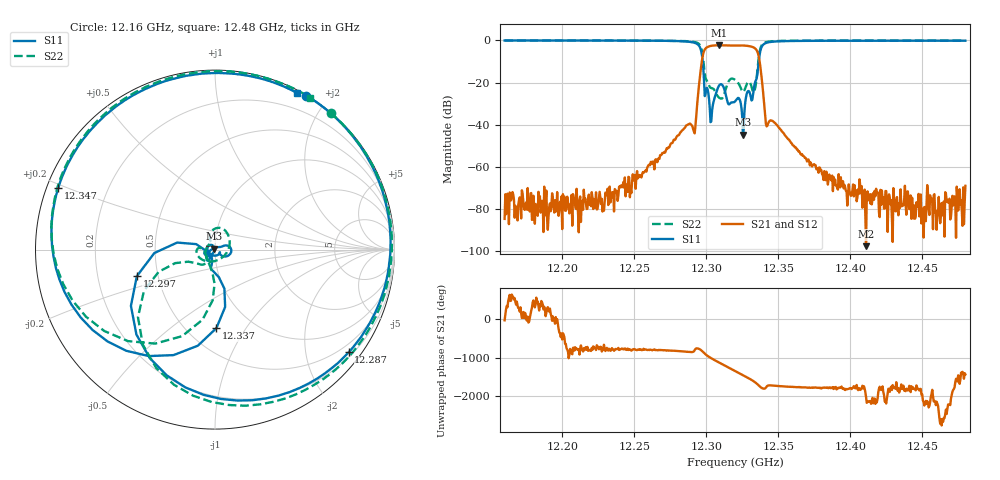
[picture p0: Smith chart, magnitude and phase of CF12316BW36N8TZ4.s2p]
! AWR Design Environment (12506) Thu Aug  4 13:45:01 2022
! Document = 'Schematic 1'
! nPorts: 2, nXvals: 641
# MHz S RI R 50
!Freq ReS11 ImS11 ReS21 ImS21 ReS12 ImS12 ReS22 ImS22
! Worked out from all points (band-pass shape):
!   641 points, 12.16 GHz to 12.48 GHz, reference 50 ohm
!   highest |S21| = -2.30 dB at 12.309 GHz (marker M1); lowest = -97.8 dB at 12.411 GHz (marker M2)
!   |S21| within 3 dB of the highest: 12.29837 GHz to 12.33549 GHz (37.12 MHz wide, 0.301 % of centre)
!   lowest |S11| = -44.9 dB at 12.325 GHz (marker M3), VSWR 1.01, Z = 49.7 + j0.492 ohm
!   |S11| at or under -10 dB: 12.29757 GHz to 12.33647 GHz (38.89 MHz wide, 0.316 % of centre)
!   |S22| runs from -27.6 to 0.0 dB; largest |S21 - S12| = 0
!   S11 on the Smith chart (normalised r, x): 12.16 GHz: 0.01, +1.76; 12.287 GHz: 0.30, -2.92; 12.297 GHz: 0.38, -0.14; 12.337 GHz: 0.69, -0.74; 12.347 GHz: 0.03, +0.19; 12.48 GHz: 0.03, +1.65
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12160  0.5097 0.8571  5.25e-05 -2.32e-05  5.25e-05 -2.32e-05  0.6447 0.761
12213.5  0.6979 0.7091  0.00011 -0.000103  0.00011 -0.000103  0.7808 0.6194
12267  0.9658 0.1916  0.000307 -0.00156  0.000307 -0.00156  0.9781 0.1428
12287  0.7449 -0.5721  -0.0063 -0.00753  -0.0063 -0.00753  0.7809 -0.5555
12292  0.2842 -0.8292  0.000384 -0.00618  0.000384 -0.00618  0.3907 -0.8297
12297  -0.4354 -0.1479  -0.0797 -0.316  -0.0797 -0.316  -0.4292 -0.3766
12299.5  -0.0291 -0.0444  -0.6189 0.1736  -0.6189 0.1736  -0.1059 -0.0751
12302.5  -0.0237 -0.00246  0.0711 0.7288  0.0711 0.7288  -0.0364 -0.0694
12306  0.0415 0.0184  0.753 0.1192  0.753 0.1192  -0.0488 -0.0408
12309  0.0841 0.0138  0.4805 -0.5986  0.4805 -0.5986  -0.0338 0.0275
12315  0.0263 -0.02  -0.7522 -0.1118  -0.7522 -0.1118  -0.0247 0.0938
12320  -0.0171 -0.0312  0.0417 0.7556  0.0417 0.7556  0.0655 0.0952
12325.5  -0.00286 0.00495  0.6999 -0.2935  0.6999 -0.2935  0.0378 -0.0462
12329  -0.0566 -0.026  -0.04 -0.7387  -0.04 -0.7387  -0.0973 -0.0322
12332  -0.0227 -0.0317  -0.6532 -0.2596  -0.6532 -0.2596  -0.068 0.0026
12337  0.00784 -0.4374  0.2235 0.2465  0.2235 0.2465  -0.1831 -0.4822
12342  -0.8665 -0.1673  0.00692 0.00585  0.00692 0.00585  -0.9117 0.1238
12347  -0.8739 0.3428  0.00507 0.0103  0.00507 0.0103  -0.7672 0.5807
12373.5  -0.2295 0.9521  0.000986 0.000213  0.000986 0.000213  -0.0644 0.9908
12411  0.1612 0.9723  -7.69e-06 1.04e-05  -7.69e-06 1.04e-05  0.282 0.9565
12427  0.2551 0.9531  0.000199 -9.39e-05  0.000199 -9.39e-05  0.3611 0.93
12480  0.4561 0.8736  0.00035 -1.74e-05  0.00035 -1.74e-05  0.5295 0.8469
